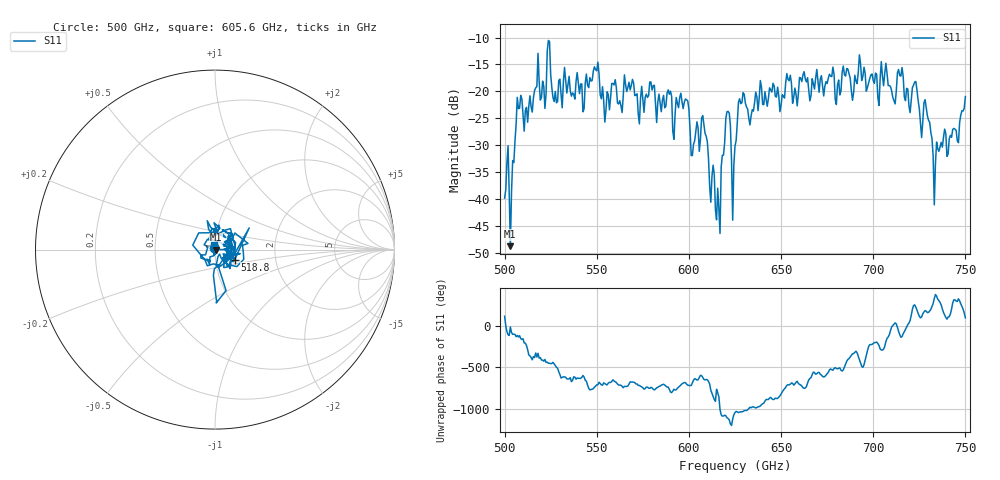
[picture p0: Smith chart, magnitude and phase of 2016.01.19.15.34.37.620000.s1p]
!Created with skrf (http://scikit-rf.org).
# GHz S RI R 50.0
!freq ReS11 ImS11
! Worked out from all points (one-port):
!   401 points, 500 GHz to 750 GHz, reference 50 ohm
!   lowest |S11| = -48.8 dB at 503.1 GHz (marker M1), VSWR 1.01, Z = 50.4 - j0.0465 ohm
!   |S11| at or under -10 dB: start of sweep to end of sweep
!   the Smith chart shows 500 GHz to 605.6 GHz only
!   S11 on the Smith chart (normalised r, x): 500 GHz: 0.99, +0.02; 518.8 GHz: 1.24, -0.14; 605.6 GHz: 0.99, +0.05
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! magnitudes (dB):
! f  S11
! 500 GHz  -39.9
! 503.1 GHz  -48.8
! 508.1 GHz  -23.1
! 518.8 GHz  -18.2
! 524.4 GHz  -10.7
! 527.5 GHz  -20.0
! 531.2 GHz  -23.1
! 549.4 GHz  -16.0
! 553.8 GHz  -21.7
! 562.5 GHz  -21.7
! 593.8 GHz  -22.2
! 598.8 GHz  -21.6
! 601.9 GHz  -31.9
! 605.6 GHz  -31.2
! 608.8 GHz  -27.8
! 615.6 GHz  -38.0
! 620.6 GHz  -23.8
! 625 GHz  -30.2
! 628.8 GHz  -22.1
! 656.2 GHz  -22.2
! 687.5 GHz  -17.5
! 705.6 GHz  -19.0
! 711.2 GHz  -21.7
! 714.4 GHz  -17.1
! 718.8 GHz  -19.6
! 728.8 GHz  -23.1
! 733.8 GHz  -33.5
! 750 GHz  -21.0
